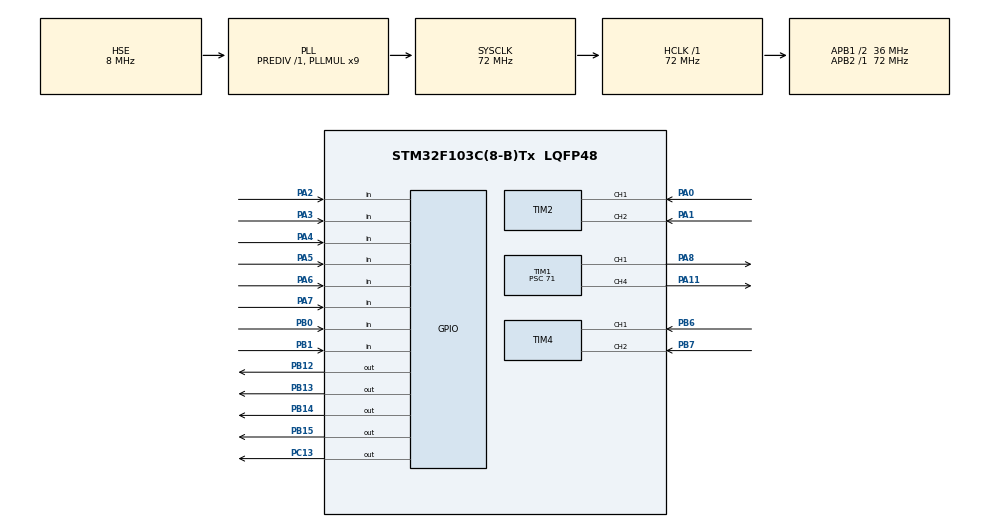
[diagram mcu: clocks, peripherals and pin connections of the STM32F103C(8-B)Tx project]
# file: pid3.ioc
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Mcu.Family=STM32F1
Mcu.Name=STM32F103C(8-B)Tx
Mcu.Package=LQFP48
NVIC.PriorityGroup=NVIC_PRIORITYGROUP_4
NVIC.TIM3_IRQn=true\:0\:0\:false\:false\:true\:true\:true\:true
PA0-WKUP.GPIO_PuPd=GPIO_PULLUP
PA0-WKUP.Signal=S_TIM2_CH1_ETR
PA1.GPIO_PuPd=GPIO_PULLUP
PA1.Signal=S_TIM2_CH2
PA11.Signal=S_TIM1_CH4
PA13.Mode=Serial_Wire
PA13.Signal=SYS_JTMS-SWDIO
PA14.Mode=Serial_Wire
PA14.Signal=SYS_JTCK-SWCLK
PA2.GPIO_PuPd=GPIO_PULLUP
PA2.Signal=GPIO_Input
PA3.GPIO_PuPd=GPIO_PULLUP
PA3.Signal=GPIO_Input
PA4.GPIO_PuPd=GPIO_PULLUP
PA4.Signal=GPIO_Input
PA5.GPIO_PuPd=GPIO_PULLUP
PA5.Signal=GPIO_Input
PA6.GPIO_PuPd=GPIO_PULLUP
PA6.Signal=GPIO_Input
PA7.GPIO_PuPd=GPIO_PULLUP
PA7.Signal=GPIO_Input
PA8.Signal=S_TIM1_CH1
PB0.GPIO_PuPd=GPIO_PULLUP
PB0.Signal=GPIO_Input
PB1.GPIO_PuPd=GPIO_PULLUP
PB1.Signal=GPIO_Input
PB12.Signal=GPIO_Output
PB13.Signal=GPIO_Output
PB14.Signal=GPIO_Output
PB15.Signal=GPIO_Output
PB6.GPIO_PuPd=GPIO_PULLUP
PB6.Signal=S_TIM4_CH1
PB7.GPIO_PuPd=GPIO_PULLUP
PB7.Signal=S_TIM4_CH2
PC13-TAMPER-RTC.Signal=GPIO_Output
PD0-OSC_IN.Mode=HSE-External-Oscillator
PD0-OSC_IN.Signal=RCC_OSC_IN
PD1-OSC_OUT.Mode=HSE-External-Oscillator
PD1-OSC_OUT.Signal=RCC_OSC_OUT
ProjectManager.HeapSize=0x200
ProjectManager.StackSize=0x400
ProjectManager.TargetToolchain=MDK-ARM V5.32
RCC.AHBFreq_Value=72000000
RCC.APB1CLKDivider=RCC_HCLK_DIV2
RCC.APB1Freq_Value=36000000
RCC.APB1TimFreq_Value=72000000
RCC.APB2Freq_Value=72000000
RCC.APB2TimFreq_Value=72000000
RCC.HCLKFreq_Value=72000000
RCC.PLLMUL=RCC_PLL_MUL9
RCC.PLLSourceVirtual=RCC_PLLSOURCE_HSE
RCC.SYSCLKFreq_VALUE=72000000
RCC.SYSCLKSource=RCC_SYSCLKSOURCE_PLLCLK
RCC.USBFreq_Value=72000000
SH.S_TIM1_CH1.0=TIM1_CH1,PWM Generation1 CH1
SH.S_TIM1_CH4.0=TIM1_CH4,PWM Generation4 CH4
SH.S_TIM2_CH1_ETR.0=TIM2_CH1,Encoder_Interface
SH.S_TIM2_CH2.0=TIM2_CH2,Encoder_Interface
SH.S_TIM4_CH1.0=TIM4_CH1,Encoder_Interface
SH.S_TIM4_CH2.0=TIM4_CH2,Encoder_Interface
TIM1.AutoReloadPreload=TIM_AUTORELOAD_PRELOAD_ENABLE
TIM1.Channel-PWM\ Generation1\ CH1=TIM_CHANNEL_1
TIM1.Channel-PWM\ Generation4\ CH4=TIM_CHANNEL_4
TIM1.Period=999
TIM1.Prescaler=71
TIM2.AutoReloadPreload=TIM_AUTORELOAD_PRELOAD_DISABLE
TIM2.EncoderMode=TIM_ENCODERMODE_TI12
TIM3.AutoReloadPreload=TIM_AUTORELOAD_PRELOAD_ENABLE
TIM3.Period=99
TIM3.Prescaler=7199
TIM4.EncoderMode=TIM_ENCODERMODE_TI12
VP_TIM1_VS_ClockSourceINT.Mode=Internal
VP_TIM3_VS_ClockSourceINT.Mode=Internal
board=custom

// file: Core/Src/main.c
/* USER CODE BEGIN Header */
/**
  ******************************************************************************
  * @file           : main.c
  * @brief          : Main program body  (8路循迹版)
  ******************************************************************************
  * 改动说明 (相对原四路版本):
  *  1) 循迹由4路改为8路: 左->右 = PA2 PA3 PA4 PA5 PA6 PA7 PB0 PB1, 压黑线输出高电平
  *  2) 驱动 STBY 由 PA4 改为 PC13(板载LED脚), 高电平使能(推挽输出)
  *  3) 供电降压到5V, 电机最高转速下降 -> 基速降为 90rpm 留差速余量
  *  4) 8路权重 {-7..+7}, KP/KD 沿用原值, 降速门槛随量程同步放大到6
*  5) 时钟由HSI64MHz改为HSE72MHz: TIM3分频6400->7200保持10ms, TIM1分频64->72保持1kHz
  ******************************************************************************
  * @attention
  *
  * Copyright (c) 2026 STMicroelectronics.
  * All rights reserved.
  *
  * This software is licensed under terms that can be found in the LICENSE file
  * in the root directory of this software component.
  * If no LICENSE file comes with this software, it is provided AS-IS.
  *
  ******************************************************************************
  */
/* USER CODE END Header */
#include "main.h"

/* USER CODE BEGIN Includes */
#include <stdio.h>
/* USER CODE END Includes */

TIM_HandleTypeDef htim1;
TIM_HandleTypeDef htim2;
TIM_HandleTypeDef htim3;
TIM_HandleTypeDef htim4;

/* USER CODE BEGIN PV */
#define COUNTS_PER_REV  1320
#define MAX_PWM         999

// ================= 8路循迹引脚 (左->右) =================
// 左1=PA2, 左2=PA3, 左3=PA4, 左4=PA5, 右1=PA6, 右2=PA7, 右3=PB0, 右4=PB1
#define TRACK_NUM       8
#define LINE_ACTIVE     GPIO_PIN_RESET /* 压黑线=高电平 */

// STBY: PC13, 高电平使能 (原板载LED脚, 使能时板上LED随之亮/灭, 属正常)
#define STBY_PORT       GPIOC
#define STBY_PIN        GPIO_PIN_13
#define STBY_ENABLE()   HAL_GPIO_WritePin(STBY_PORT, STBY_PIN, GPIO_PIN_SET)
#define STBY_DISABLE()  HAL_GPIO_WritePin(STBY_PORT, STBY_PIN, GPIO_PIN_RESET)

// ================= 循迹参数 (5V供电, 65mm轮, 1m半径半圆) =================
// 5V下电机最高约120~140rpm, 基速90rpm给差速留出余量;
// 若占空比顶满999仍觉得慢/达不到, 把基速降到实际极速的~85%;
// 若车头高频左右抖, 先把TRACK_KD降到10~12试
#define TRACK_BASE_SPEED_RPM  90.0f
#define TRACK_KP              8.0f
#define TRACK_KD              20.0f
#define TRACK_MAX_DIFF_RPM    40.0f     /* 5V极速受限, 差速限幅收到40 */
#define TRACK_SLOW_AT         6         /* 8路量程±7, 边缘才降速 */
#define TRACK_SLOW_DELTA_RPM  30.0f

// 状态
volatile uint8_t track_mode = 1;
volatile int16_t track_err_last = 0;
volatile int16_t track_err_prev = 0;

// 电机PID结构
typedef struct {
    int16_t target;
    int16_t speed;
    int16_t last_cnt;
    float kp, ki, kd;
    float err, err_last;
    float integ;
    int16_t out;
} MOTOR_PID;

MOTOR_PID ml = {.kp=15.0f, .ki=1.0f, .kd=0.0f};
MOTOR_PID mr = {.kp=15.0f, .ki=1.0f, .kd=0.0f};
/* USER CODE END PV */

void SystemClock_Config(void);
static void MX_GPIO_Init(void);
static void MX_TIM1_Init(void);
static void MX_TIM2_Init(void);
static void MX_TIM3_Init(void);
static void MX_TIM4_Init(void);

/* USER CODE BEGIN 0 */
void Motor_Left_Set(int16_t duty)
{
    if (duty > 0) {
        HAL_GPIO_WritePin(GPIOB, GPIO_PIN_12, GPIO_PIN_SET);
        HAL_GPIO_WritePin(GPIOB, GPIO_PIN_13, GPIO_PIN_RESET);
    } else if (duty < 0) {
        HAL_GPIO_WritePin(GPIOB, GPIO_PIN_12, GPIO_PIN_RESET);
        HAL_GPIO_WritePin(GPIOB, GPIO_PIN_13, GPIO_PIN_SET);
        duty = -duty;
    } else {
        HAL_GPIO_WritePin(GPIOB, GPIO_PIN_12, GPIO_PIN_RESET);
        HAL_GPIO_WritePin(GPIOB, GPIO_PIN_13, GPIO_PIN_RESET);
    }
    if (duty > MAX_PWM) duty = MAX_PWM;
    __HAL_TIM_SET_COMPARE(&htim1, TIM_CHANNEL_1, duty);
}

void Motor_Right_Set(int16_t duty)
{
    if (duty > 0) {
        HAL_GPIO_WritePin(GPIOB, GPIO_PIN_14, GPIO_PIN_SET);
        HAL_GPIO_WritePin(GPIOB, GPIO_PIN_15, GPIO_PIN_RESET);
    } else if (duty < 0) {
        HAL_GPIO_WritePin(GPIOB, GPIO_PIN_14, GPIO_PIN_RESET);
        HAL_GPIO_WritePin(GPIOB, GPIO_PIN_15, GPIO_PIN_SET);
        duty = -duty;
    } else {
        HAL_GPIO_WritePin(GPIOB, GPIO_PIN_14, GPIO_PIN_RESET);
        HAL_GPIO_WritePin(GPIOB, GPIO_PIN_15, GPIO_PIN_RESET);
    }
    if (duty > MAX_PWM) duty = MAX_PWM;
    __HAL_TIM_SET_COMPARE(&htim1, TIM_CHANNEL_4, duty);
}

void pid_calc(MOTOR_PID *p, TIM_HandleTypeDef *htim)
{
    if (p->target == 0) {
        p->out = 0;
        p->integ = 0;
        p->speed = 0;
        p->err = 0;
        return;
    }
    int16_t now = (int16_t)__HAL_TIM_GET_COUNTER(htim);
    p->speed = now - p->last_cnt;
    p->last_cnt = now;

    p->err = p->target - p->speed;
    p->integ += p->err;
    /* 5V下基速90rpm对应占空比约700, 限幅放大到850防积分饱和掉速 */
    if (p->integ > 850) p->integ = 850;
    if (p->integ < -850) p->integ = -850;
    float d = p->err - p->err_last;
    p->out = (int16_t)(p->kp * p->err + p->ki * p->integ + p->kd * d);
    p->err_last = p->err;

    if (p->out > MAX_PWM) p->out = MAX_PWM;
    if (p->out < -MAX_PWM) p->out = -MAX_PWM;
}

void Motor_Stop(void)
{
    ml.target = 0; mr.target = 0;
    ml.integ = 0;   mr.integ = 0;
    ml.out = 0;     mr.out = 0;
    ml.err = 0;     mr.err = 0;
    ml.err_last = 0;mr.err_last = 0;
    Motor_Left_Set(0);
    Motor_Right_Set(0);
    STBY_DISABLE();
}

int16_t SpeedToCount(float rpm)
{
    float cnt = rpm * (float)COUNTS_PER_REV / 6000.0f;
    return (int16_t)(cnt + (cnt >= 0 ? 0.5f : -0.5f));     /* 四舍五入, 防浮点截断少1 */
}

/* 8路权重: 左->右 {-7,-5,-3,-1, +1,+3,+5,+7} */
static const int8_t TRACK_W[TRACK_NUM] = {-7, -5, -3, -1, 1, 3, 5, 7};

/* 8路引脚: 左->右 */
static const struct { GPIO_TypeDef *port; uint16_t pin; } TRACK_PINS[TRACK_NUM] = {
    {GPIOA, GPIO_PIN_2},  /* 最左 */
    {GPIOA, GPIO_PIN_3},
    {GPIOA, GPIO_PIN_4},
    {GPIOA, GPIO_PIN_5},
    {GPIOA, GPIO_PIN_6},
    {GPIOA, GPIO_PIN_7},
    {GPIOB, GPIO_PIN_0},
    {GPIOB, GPIO_PIN_1},  /* 最右 */
};

uint8_t Track_ReadSensors(void)
{
    uint8_t sensors = 0;
    int8_t i;
    for (i = 0; i < TRACK_NUM; i++) {
        if (HAL_GPIO_ReadPin(TRACK_PINS[i].port, TRACK_PINS[i].pin) == LINE_ACTIVE) {
            sensors |= (uint8_t)(1u << (7 - i));   /* bit7=最左 ... bit0=最右 */
        }
    }
    return sensors;
}

int16_t Track_CalcError(uint8_t sensors)
{
    int16_t sum = 0;
    uint8_t cnt = 0, i;
    for (i = 0; i < TRACK_NUM; i++) {
        if (sensors & (uint8_t)(1u << (7 - i))) {
            sum += TRACK_W[i];
            cnt++;
        }
    }
    if (cnt == 0) {                                         /* 全白丢线: 保持上次误差, 继续原方向转向 */
        return track_err_last;
    }
    track_err_last = sum / cnt;
    return track_err_last;
}

void Track_Update(void)
{
    int16_t err = Track_CalcError(Track_ReadSensors());
    int16_t d = err - track_err_prev;
    track_err_prev = err;

    float pd = TRACK_KP * err + TRACK_KD * d;
    if (pd >  TRACK_MAX_DIFF_RPM) pd =  TRACK_MAX_DIFF_RPM;
    if (pd < -TRACK_MAX_DIFF_RPM) pd = -TRACK_MAX_DIFF_RPM;

    float base = TRACK_BASE_SPEED_RPM;
    if (err >= TRACK_SLOW_AT || err <= -TRACK_SLOW_AT) {
        base -= TRACK_SLOW_DELTA_RPM;        /* 即将丢线才降速; 1m半径半圆稳态误差~2格, 不会误触发 */
    }
/* err>0 = 黑线在车右侧 = 车偏左 -> 需右转: 左轮快右轮慢
   换算成底层PID的每10ms计数值后下发, 实际转速由原有电机PID闭环保证 */
    int16_t tL = SpeedToCount(base + pd);
    int16_t tR = SpeedToCount(base - pd);
    if (tL < 0) tL = 0;
    if (tR < 0) tR = 0;

    ml.target = tR;             //一开始就是反的，
    mr.target = tL;
}

void Track_SetMode(uint8_t on)
{
    if (on) {
        track_err_last = 0;
        track_err_prev = 0;
        ml.integ = 0; mr.integ = 0;
        ml.err = 0; mr.err = 0;
        ml.err_last = 0; mr.err_last = 0;
        STBY_ENABLE();          /* PC13 高电平使能驱动 */

    } else {
        Motor_Stop();

    }
    track_mode = on;
}
/* USER CODE END 0 */

int main(void)
{

  /* MCU Configuration--------------------------------------------------------*/

  /* Reset of all peripherals, Initializes the Flash interface and the Systick. */
  HAL_Init();

  /* Configure the system clock */
  SystemClock_Config();

  /* Initialize all configured peripherals */
  MX_GPIO_Init();
  MX_TIM1_Init();
  MX_TIM2_Init();
  MX_TIM3_Init();
  MX_TIM4_Init();
  /* USER CODE BEGIN 2 */
  HAL_TIM_PWM_Start(&htim1, TIM_CHANNEL_1);
  HAL_TIM_PWM_Start(&htim1, TIM_CHANNEL_4);
  HAL_TIM_Encoder_Start(&htim2, TIM_CHANNEL_ALL);
  HAL_TIM_Encoder_Start(&htim4, TIM_CHANNEL_ALL);

  ml.last_cnt = (int16_t)__HAL_TIM_GET_COUNTER(&htim2);
  mr.last_cnt = (int16_t)__HAL_TIM_GET_COUNTER(&htim4);

  Motor_Stop();
  HAL_Delay(1000);
  Track_SetMode(1);
  track_mode = 1;

  HAL_TIM_Base_Start_IT(&htim3);  // 最后启动中断

  /* USER CODE END 2 */

  /* Infinite loop */
  while (1)
  {

  }
}

void SystemClock_Config(void)
{
  RCC_OscInitTypeDef RCC_OscInitStruct = {0};
  RCC_ClkInitTypeDef RCC_ClkInitStruct = {0};

  /** Initializes the RCC Oscillators according to the specified parameters
  * in the RCC_OscInitTypeDef structure.
  */
  RCC_OscInitStruct.OscillatorType = RCC_OSCILLATORTYPE_HSE;
  RCC_OscInitStruct.HSEState = RCC_HSE_ON;
  RCC_OscInitStruct.HSEPredivValue = RCC_HSE_PREDIV_DIV1;
  RCC_OscInitStruct.HSIState = RCC_HSI_ON;
  RCC_OscInitStruct.PLL.PLLState = RCC_PLL_ON;
  RCC_OscInitStruct.PLL.PLLSource = RCC_PLLSOURCE_HSE;
  RCC_OscInitStruct.PLL.PLLMUL = RCC_PLL_MUL9;
  if (HAL_RCC_OscConfig(&RCC_OscInitStruct) != HAL_OK)
  {
    Error_Handler();
  }

  /** Initializes the CPU, AHB and APB buses clocks
  */
  RCC_ClkInitStruct.ClockType = RCC_CLOCKTYPE_HCLK|RCC_CLOCKTYPE_SYSCLK
                              |RCC_CLOCKTYPE_PCLK1|RCC_CLOCKTYPE_PCLK2;
  RCC_ClkInitStruct.SYSCLKSource = RCC_SYSCLKSOURCE_PLLCLK;
  RCC_ClkInitStruct.AHBCLKDivider = RCC_SYSCLK_DIV1;
  RCC_ClkInitStruct.APB1CLKDivider = RCC_HCLK_DIV2;
  RCC_ClkInitStruct.APB2CLKDivider = RCC_HCLK_DIV1;

  if (HAL_RCC_ClockConfig(&RCC_ClkInitStruct, FLASH_LATENCY_2) != HAL_OK)
  {
    Error_Handler();
  }
}

static void MX_TIM1_Init(void)
{

  TIM_ClockConfigTypeDef sClockSourceConfig = {0};
  TIM_MasterConfigTypeDef sMasterConfig = {0};
  TIM_OC_InitTypeDef sConfigOC = {0};
  TIM_BreakDeadTimeConfigTypeDef sBreakDeadTimeConfig = {0};

  htim1.Instance = TIM1;
  htim1.Init.Prescaler = 71;
  htim1.Init.CounterMode = TIM_COUNTERMODE_UP;
  htim1.Init.Period = 999;
  htim1.Init.ClockDivision = TIM_CLOCKDIVISION_DIV1;
  htim1.Init.RepetitionCounter = 0;
  htim1.Init.AutoReloadPreload = TIM_AUTORELOAD_PRELOAD_ENABLE;
  if (HAL_TIM_Base_Init(&htim1) != HAL_OK)
  {
    Error_Handler();
  }
  sClockSourceConfig.ClockSource = TIM_CLOCKSOURCE_INTERNAL;
  if (HAL_TIM_ConfigClockSource(&htim1, &sClockSourceConfig) != HAL_OK)
  {
    Error_Handler();
  }
  if (HAL_TIM_PWM_Init(&htim1) != HAL_OK)
  {
    Error_Handler();
  }
  sMasterConfig.MasterOutputTrigger = TIM_TRGO_RESET;
  sMasterConfig.MasterSlaveMode = TIM_MASTERSLAVEMODE_DISABLE;
  if (HAL_TIMEx_MasterConfigSynchronization(&htim1, &sMasterConfig) != HAL_OK)
  {
    Error_Handler();
  }
  sConfigOC.OCMode = TIM_OCMODE_PWM1;
  sConfigOC.Pulse = 0;
  sConfigOC.OCPolarity = TIM_OCPOLARITY_HIGH;
  sConfigOC.OCNPolarity = TIM_OCNPOLARITY_HIGH;
  sConfigOC.OCFastMode = TIM_OCFAST_DISABLE;
  sConfigOC.OCIdleState = TIM_OCIDLESTATE_RESET;
  sConfigOC.OCNIdleState = TIM_OCNIDLESTATE_RESET;
  if (HAL_TIM_PWM_ConfigChannel(&htim1, &sConfigOC, TIM_CHANNEL_1) != HAL_OK)
  {
    Error_Handler();
  }
  if (HAL_TIM_PWM_ConfigChannel(&htim1, &sConfigOC, TIM_CHANNEL_4) != HAL_OK)
  {
    Error_Handler();
  }
  sBreakDeadTimeConfig.OffStateRunMode = TIM_OSSR_DISABLE;
  sBreakDeadTimeConfig.OffStateIDLEMode = TIM_OSSI_DISABLE;
  sBreakDeadTimeConfig.LockLevel = TIM_LOCKLEVEL_OFF;
  sBreakDeadTimeConfig.DeadTime = 0;
  sBreakDeadTimeConfig.BreakState = TIM_BREAK_DISABLE;
  sBreakDeadTimeConfig.BreakPolarity = TIM_BREAKPOLARITY_HIGH;
  sBreakDeadTimeConfig.AutomaticOutput = TIM_AUTOMATICOUTPUT_DISABLE;
  if (HAL_TIMEx_ConfigBreakDeadTime(&htim1, &sBreakDeadTimeConfig) != HAL_OK)
  {
    Error_Handler();
  }
  HAL_TIM_MspPostInit(&htim1);

}

static void MX_TIM2_Init(void)
{

  TIM_Encoder_InitTypeDef sConfig = {0};
  TIM_MasterConfigTypeDef sMasterConfig = {0};

  htim2.Instance = TIM2;
  htim2.Init.Prescaler = 0;
  htim2.Init.CounterMode = TIM_COUNTERMODE_UP;
  htim2.Init.Period = 65535;
  htim2.Init.ClockDivision = TIM_CLOCKDIVISION_DIV1;
  htim2.Init.AutoReloadPreload = TIM_AUTORELOAD_PRELOAD_DISABLE;
  sConfig.EncoderMode = TIM_ENCODERMODE_TI12;
  sConfig.IC1Polarity = TIM_ICPOLARITY_RISING;
  sConfig.IC1Selection = TIM_ICSELECTION_DIRECTTI;
  sConfig.IC1Prescaler = TIM_ICPSC_DIV1;
  sConfig.IC1Filter = 0;
  sConfig.IC2Polarity = TIM_ICPOLARITY_RISING;
  sConfig.IC2Selection = TIM_ICSELECTION_DIRECTTI;
  sConfig.IC2Prescaler = TIM_ICPSC_DIV1;
  sConfig.IC2Filter = 0;
  if (HAL_TIM_Encoder_Init(&htim2, &sConfig) != HAL_OK)
  {
    Error_Handler();
  }
  sMasterConfig.MasterOutputTrigger = TIM_TRGO_RESET;
  sMasterConfig.MasterSlaveMode = TIM_MASTERSLAVEMODE_DISABLE;
  if (HAL_TIMEx_MasterConfigSynchronization(&htim2, &sMasterConfig) != HAL_OK)
  {
    Error_Handler();
  }

}

static void MX_TIM3_Init(void)
{

  TIM_ClockConfigTypeDef sClockSourceConfig = {0};
  TIM_MasterConfigTypeDef sMasterConfig = {0};

  htim3.Instance = TIM3;
  htim3.Init.Prescaler = 7199;
  htim3.Init.CounterMode = TIM_COUNTERMODE_UP;
  htim3.Init.Period = 99;
  htim3.Init.ClockDivision = TIM_CLOCKDIVISION_DIV1;
  htim3.Init.AutoReloadPreload = TIM_AUTORELOAD_PRELOAD_ENABLE;
  if (HAL_TIM_Base_Init(&htim3) != HAL_OK)
  {
    Error_Handler();
  }
  sClockSourceConfig.ClockSource = TIM_CLOCKSOURCE_INTERNAL;
  if (HAL_TIM_ConfigClockSource(&htim3, &sClockSourceConfig) != HAL_OK)
  {
    Error_Handler();
  }
  sMasterConfig.MasterOutputTrigger = TIM_TRGO_RESET;
  sMasterConfig.MasterSlaveMode = TIM_MASTERSLAVEMODE_DISABLE;
  if (HAL_TIMEx_MasterConfigSynchronization(&htim3, &sMasterConfig) != HAL_OK)
  {
    Error_Handler();
  }

}

static void MX_TIM4_Init(void)
{

  TIM_Encoder_InitTypeDef sConfig = {0};
  TIM_MasterConfigTypeDef sMasterConfig = {0};

  htim4.Instance = TIM4;
  htim4.Init.Prescaler = 0;
  htim4.Init.CounterMode = TIM_COUNTERMODE_UP;
  htim4.Init.Period = 65535;
  htim4.Init.ClockDivision = TIM_CLOCKDIVISION_DIV1;
  htim4.Init.AutoReloadPreload = TIM_AUTORELOAD_PRELOAD_DISABLE;
  sConfig.EncoderMode = TIM_ENCODERMODE_TI12;
  sConfig.IC1Polarity = TIM_ICPOLARITY_RISING;
  sConfig.IC1Selection = TIM_ICSELECTION_DIRECTTI;
  sConfig.IC1Prescaler = TIM_ICPSC_DIV1;
  sConfig.IC1Filter = 0;
  sConfig.IC2Polarity = TIM_ICPOLARITY_RISING;
  sConfig.IC2Selection = TIM_ICSELECTION_DIRECTTI;
  sConfig.IC2Prescaler = TIM_ICPSC_DIV1;
  sConfig.IC2Filter = 0;
  if (HAL_TIM_Encoder_Init(&htim4, &sConfig) != HAL_OK)
  {
    Error_Handler();
  }
  sMasterConfig.MasterOutputTrigger = TIM_TRGO_RESET;
  sMasterConfig.MasterSlaveMode = TIM_MASTERSLAVEMODE_DISABLE;
  if (HAL_TIMEx_MasterConfigSynchronization(&htim4, &sMasterConfig) != HAL_OK)
  {
    Error_Handler();
  }

}

static void MX_GPIO_Init(void)
{
  GPIO_InitTypeDef GPIO_InitStruct = {0};

  /* GPIO Ports Clock Enable */
  __HAL_RCC_GPIOC_CLK_ENABLE();
  __HAL_RCC_GPIOD_CLK_ENABLE();
  __HAL_RCC_GPIOA_CLK_ENABLE();
  __HAL_RCC_GPIOB_CLK_ENABLE();

  /*Configure GPIO pin Output Level */
  HAL_GPIO_WritePin(GPIOC, GPIO_PIN_13, GPIO_PIN_RESET);

  /*Configure GPIO pin Output Level */
  HAL_GPIO_WritePin(GPIOB, GPIO_PIN_12|GPIO_PIN_13|GPIO_PIN_14|GPIO_PIN_15, GPIO_PIN_RESET);

  /*Configure GPIO pin : PC13 */
  GPIO_InitStruct.Pin = GPIO_PIN_13;
  GPIO_InitStruct.Mode = GPIO_MODE_OUTPUT_PP;
  GPIO_InitStruct.Pull = GPIO_NOPULL;
  GPIO_InitStruct.Speed = GPIO_SPEED_FREQ_LOW;
  HAL_GPIO_Init(GPIOC, &GPIO_InitStruct);

  /*Configure GPIO pins : PA2 PA3 PA4 PA5
                           PA6 PA7 */
  GPIO_InitStruct.Pin = GPIO_PIN_2|GPIO_PIN_3|GPIO_PIN_4|GPIO_PIN_5
                          |GPIO_PIN_6|GPIO_PIN_7;
  GPIO_InitStruct.Mode = GPIO_MODE_INPUT;
  GPIO_InitStruct.Pull = GPIO_PULLUP;
  HAL_GPIO_Init(GPIOA, &GPIO_InitStruct);

  /*Configure GPIO pins : PB0 PB1 */
  GPIO_InitStruct.Pin = GPIO_PIN_0|GPIO_PIN_1;
  GPIO_InitStruct.Mode = GPIO_MODE_INPUT;
  GPIO_InitStruct.Pull = GPIO_PULLUP;
  HAL_GPIO_Init(GPIOB, &GPIO_InitStruct);

  /*Configure GPIO pins : PB12 PB13 PB14 PB15 */
  GPIO_InitStruct.Pin = GPIO_PIN_12|GPIO_PIN_13|GPIO_PIN_14|GPIO_PIN_15;
  GPIO_InitStruct.Mode = GPIO_MODE_OUTPUT_PP;
  GPIO_InitStruct.Pull = GPIO_NOPULL;
  GPIO_InitStruct.Speed = GPIO_SPEED_FREQ_LOW;
  HAL_GPIO_Init(GPIOB, &GPIO_InitStruct);

}

/* USER CODE BEGIN 4 */
void HAL_TIM_PeriodElapsedCallback(TIM_HandleTypeDef *htim)
{
    if (htim->Instance == TIM3) {
        if (track_mode) {
            Track_Update();
        }
        pid_calc(&ml, &htim2);
        pid_calc(&mr, &htim4);
        Motor_Left_Set(ml.out);
        Motor_Right_Set(mr.out);
    }
}
/* USER CODE END 4 */

void Error_Handler(void)
{
  __disable_irq();
  while (1)
  {
  }
}
